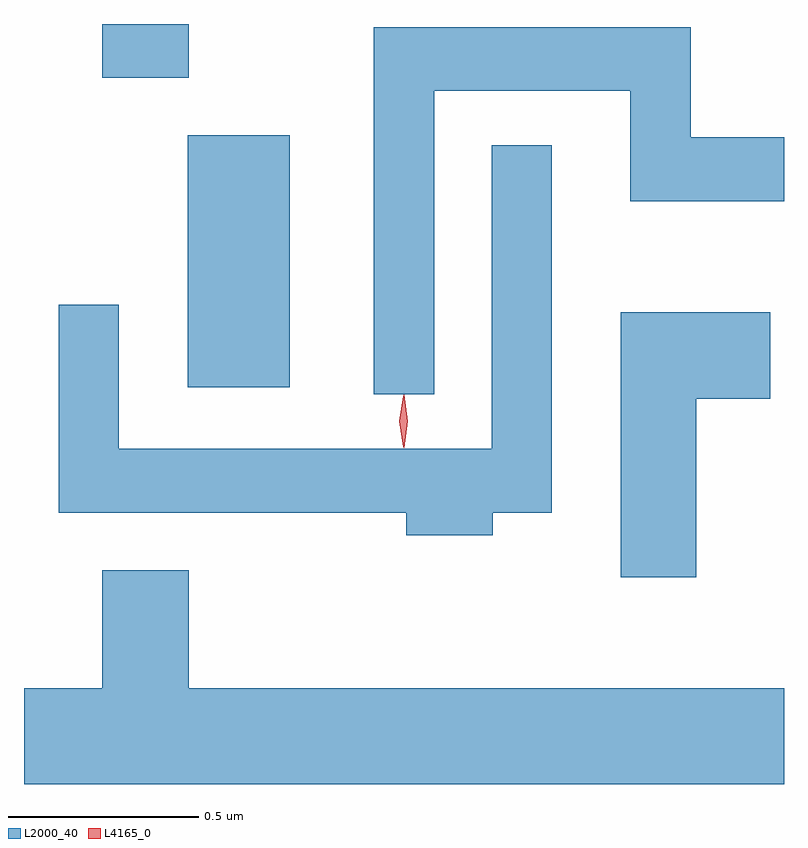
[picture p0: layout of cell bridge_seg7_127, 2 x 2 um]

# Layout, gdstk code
import gdstk
lib = gdstk.Library(unit=1e-6, precision=1e-09)
def R(c, l, rs):  # rectangles x0, y0, x1, y1
    for r in rs: c.add(gdstk.rectangle(r[:2], r[2:], *l))
def P(c, l, *ps):  # polygons
    for p in ps: c.add(gdstk.Polygon(p, *l))
L2000_40 = (2000, 40)
L4165_0 = (4165, 0)

bridge_seg7_127 = lib.new_cell('bridge_seg7_127')
R(bridge_seg7_127, L2000_40, [(1580.936,1797.516,1581.204,1798.179), (1580.711,1798.331,1580.939,1798.472)])
P(bridge_seg7_127, L2000_40, [(1581.584,1798.296),(1582.101,1798.296),(1582.101,1798.006),(1582.505,1798.006),(1582.505,1798.174),(1582.259,1798.174),(1582.259,1798.464),(1581.426,1798.464),(1581.426,1797.498),(1581.584,1797.498)],
  [(1581.739,1797.186),(1581.894,1797.186),(1581.894,1798.153),(1581.736,1798.153),(1581.736,1797.354),(1580.754,1797.354),(1580.754,1797.733),(1580.596,1797.733),(1580.596,1797.186),(1581.511,1797.186),(1581.511,1797.126),(1581.739,1797.126)],
  [(1582.274,1797.486),(1582.469,1797.486),(1582.469,1797.714),(1582.076,1797.714),(1582.076,1797.016),(1582.274,1797.016)],
  [(1582.505,1796.724),(1580.939,1796.724),(1580.939,1797.034),(1580.711,1797.034),(1580.711,1796.724),(1580.505,1796.724),(1580.505,1796.472),(1582.505,1796.472)])
P(bridge_seg7_127, L4165_0, [(1581.503,1797.359),(1581.503,1797.36),(1581.493,1797.426),(1581.503,1797.492),(1581.503,1797.493),(1581.504,1797.492),(1581.513,1797.426),(1581.504,1797.36)],
  [(1581.504,1797.357),(1581.495,1797.426),(1581.504,1797.496),(1581.505,1797.496),(1581.505,1797.496),(1581.515,1797.426),(1581.505,1797.357),(1581.505,1797.357)])

lib.write_gds('bridge_seg7_127.gds')
